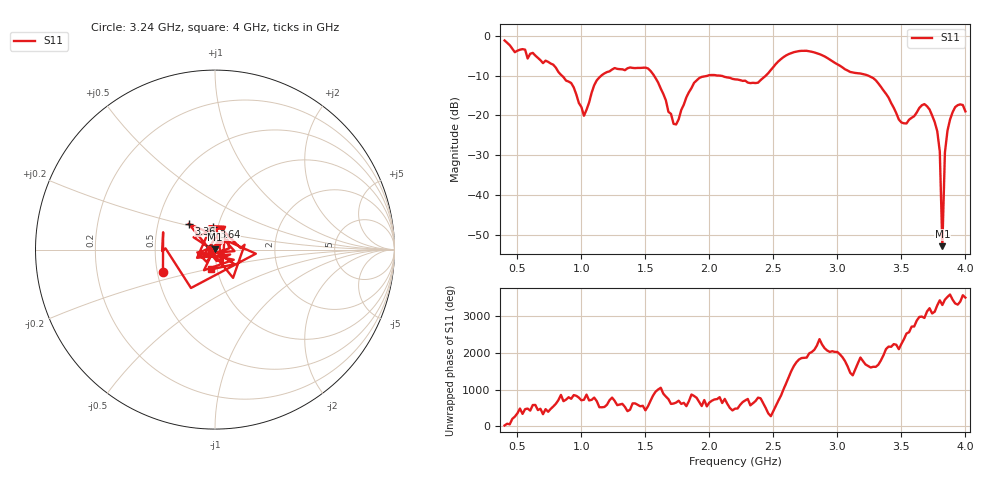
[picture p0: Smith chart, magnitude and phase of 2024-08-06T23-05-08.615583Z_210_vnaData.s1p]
!Created with skrf (http://scikit-rf.org).
# Hz S RI R 50.0
!freq ReS11 ImS11
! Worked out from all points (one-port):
!   181 points, 400 MHz to 4 GHz, reference 50 ohm
!   lowest |S11| = -52.8 dB at 3.82 GHz (marker M1), VSWR 1.00, Z = 50.1 + j0.196 ohm
!   |S11| at or under -10 dB: 1.567 GHz to 1.989 GHz (421.6 MHz wide, 23.7 % of centre); 2.077 GHz to 2.441 GHz (363.9 MHz wide, 16.1 % of centre); 3.24 GHz to end of sweep (the widest 3 of 4)
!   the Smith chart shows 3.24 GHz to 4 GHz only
!   S11 on the Smith chart (normalised r, x): 3.24 GHz: 0.54, -0.15; 3.36 GHz: 0.72, +0.22; 3.64 GHz: 0.95, +0.24; 4 GHz: 0.94, -0.21
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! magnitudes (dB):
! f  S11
! 400 MHz  -1.2
! 860 MHz  -10.4
! 940 MHz  -13.0
! 1.02 GHz  -20.1
! 1.12 GHz  -11.2
! 1.3 GHz  -8.4
! 1.52 GHz  -8.2
! 1.6 GHz  -11.8
! 1.72 GHz  -22.1
! 1.76 GHz  -21.0
! 1.92 GHz  -10.6
! 2.2 GHz  -10.9
! 2.38 GHz  -11.8
! 2.66 GHz  -4.1
! 3.1 GHz  -9.1
! 3.24 GHz  -10.0
! 3.36 GHz  -13.7
! 3.48 GHz  -21.0
! 3.56 GHz  -21.1
! 3.64 GHz  -18.1
! 3.72 GHz  -18.5
! 3.78 GHz  -23.9
! 3.8 GHz  -29.1
! 3.82 GHz  -52.8
! 3.84 GHz  -29.3
! 3.86 GHz  -23.8
! 3.92 GHz  -17.9
! 4 GHz  -19.0
